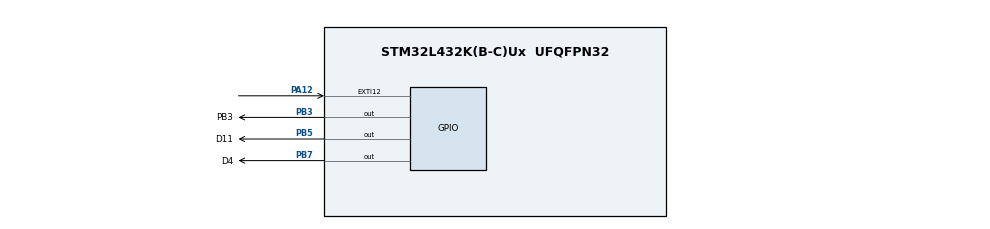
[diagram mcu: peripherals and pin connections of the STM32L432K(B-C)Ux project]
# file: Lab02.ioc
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Mcu.Family=STM32L4
Mcu.Name=STM32L432K(B-C)Ux
Mcu.Package=UFQFPN32
NVIC.EXTI15_10_IRQn=true\:0\:0\:false\:false\:true\:true\:true\:true
NVIC.PriorityGroup=NVIC_PRIORITYGROUP_4
PA12.GPIO_ModeDefaultEXTI=GPIO_MODE_IT_FALLING
PA12.GPIO_PuPd=GPIO_PULLUP
PA12.Signal=GPXTI12
PB3\ (JTDO-TRACESWO).GPIO_Label=PB3
PB3\ (JTDO-TRACESWO).Signal=GPIO_Output
PB5.GPIO_Label=D11
PB5.Signal=GPIO_Output
PB7.GPIO_Label=D4
PB7.Signal=GPIO_Output
ProjectManager.HeapSize=0x200
ProjectManager.StackSize=0x400
ProjectManager.TargetToolchain=STM32CubeIDE
RCC.HSE_VALUE=8000000
RCC.HSI48_VALUE=48000000
RCC.HSI_VALUE=16000000
RCC.LSE_VALUE=32768
RCC.MSI_VALUE=4000000
RCC.VCOOutputFreq_Value=32000000
board=custom

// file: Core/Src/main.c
/* USER CODE BEGIN Header */
/**
  ******************************************************************************
  * @file           : main.c
  * @brief          : Main program body
  ******************************************************************************
  * @attention
  *
  * Copyright (c) 2026 STMicroelectronics.
  * All rights reserved.
  *
  * This software is licensed under terms that can be found in the LICENSE file
  * in the root directory of this software component.
  * If no LICENSE file comes with this software, it is provided AS-IS.
  *
  ******************************************************************************
  */
/* USER CODE END Header */
#include "main.h"

/* USER CODE BEGIN PD */
#define EJERCICIO_ACTUAL 1
volatile uint8_t estado_variable = 0;
/* USER CODE END PD */

void SystemClock_Config(void);
static void MX_GPIO_Init(void);

int main(void)
{
  /* USER CODE BEGIN 1 */
	uint8_t seleccion_led = 0; // 0 = LED1 (0.25Hz), 1 = LED2 (10Hz)  actua como una bandera.

  /* USER CODE END 1 */

  /* MCU Configuration--------------------------------------------------------*/

  /* Reset of all peripherals, Initializes the Flash interface and the Systick. */
  HAL_Init();

  /* Configure the system clock */
  SystemClock_Config();

  /* Initialize all configured peripherals */
  MX_GPIO_Init();

  /* Infinite loop */
  /* USER CODE BEGIN WHILE */
  while (1)
  {
	  #if EJERCICIO_ACTUAL == 1
		  // --- Dos parpadeos del pin D11 (500ms encendido, 500ms apagado) ---
		  	      for(int i = 0; i < 2; i++) {
		  	          HAL_GPIO_WritePin(D11_GPIO_Port, D11_Pin, GPIO_PIN_SET);
		  	          HAL_Delay(500);
		  	          HAL_GPIO_WritePin(D11_GPIO_Port, D11_Pin, GPIO_PIN_RESET);
		  	          HAL_Delay(500);
		  	      }

		  	      // --- Cuatro parpadeos del pin D4 (200ms encendido, 200ms apagado) ---
		  	      for(int i = 0; i < 4; i++) {
		  	          HAL_GPIO_TogglePin(D4_GPIO_Port, D4_Pin); // Toggle invierte el estado actual
		  	          HAL_Delay(200);
		  	          HAL_GPIO_TogglePin(D4_GPIO_Port, D4_Pin);
		  	          HAL_Delay(200);
		  	      }

	  #elif EJERCICIO_ACTUAL == 2
		  	    // 1. Leer el estado del pulsador
		  	          // Como usamos Pull-up, al presionar lee RESET (0V)
		  	          if (HAL_GPIO_ReadPin(BOTON_GPIO_Port, BOTON_Pin) == GPIO_PIN_RESET) {
		  	              seleccion_led = !seleccion_led; // Alternar la selección
		  	              HAL_Delay(300); // Pequeña demora para que un solo toque no cambie el estado 50 veces
		  	          }

		  	          // 2. Ejecutar el parpadeo según la selección
		  	          if (seleccion_led == 0) {
		  	              // Apagamos el LED2 por si quedó encendido al cambiar de estado
		  	              HAL_GPIO_WritePin(D4_GPIO_Port, D4_Pin, GPIO_PIN_RESET);

		  	              // Parpadeo LED1 a 0,25Hz
		  	              HAL_GPIO_TogglePin(D11_GPIO_Port, D11_Pin);
		  	              HAL_Delay(2000);
		  	          }
		  	          else {
		  	              // Apagamos el LED1 por si quedó encendido al cambiar de estado
		  	              HAL_GPIO_WritePin(D11_GPIO_Port, D11_Pin, GPIO_PIN_RESET);

		  	              // Parpadeo LED2 a 10Hz
		  	              HAL_GPIO_TogglePin(D4_GPIO_Port, D4_Pin);
		  	              HAL_Delay(50);
		  	          }

	  #elif EJERCICIO_ACTUAL == 3

#elif EJERCICIO_ACTUAL == 4
		// Al retornar de la ISR, leemos la variable y accionamos el LED D11
		  	        //if (estado_variable == 1) {
		  	        //	HAL_GPIO_WritePin(D11_GPIO_Port, D11_Pin, GPIO_PIN_SET);
		  	        //} else {
		  	        //	HAL_GPIO_WritePin(D11_GPIO_Port, D11_Pin, GPIO_PIN_RESET);
		  	        //}

	  #elif EJERCICIO_ACTUAL == 5

	  #endif

    /* USER CODE END WHILE */

  }
}

void SystemClock_Config(void)
{
  RCC_OscInitTypeDef RCC_OscInitStruct = {0};
  RCC_ClkInitTypeDef RCC_ClkInitStruct = {0};

  /** Configure the main internal regulator output voltage
  */
  if (HAL_PWREx_ControlVoltageScaling(PWR_REGULATOR_VOLTAGE_SCALE1) != HAL_OK)
  {
    Error_Handler();
  }

  /** Initializes the RCC Oscillators according to the specified parameters
  * in the RCC_OscInitTypeDef structure.
  */
  RCC_OscInitStruct.OscillatorType = RCC_OSCILLATORTYPE_MSI;
  RCC_OscInitStruct.MSIState = RCC_MSI_ON;
  RCC_OscInitStruct.MSICalibrationValue = 0;
  RCC_OscInitStruct.MSIClockRange = RCC_MSIRANGE_6;
  RCC_OscInitStruct.PLL.PLLState = RCC_PLL_NONE;
  if (HAL_RCC_OscConfig(&RCC_OscInitStruct) != HAL_OK)
  {
    Error_Handler();
  }

  /** Initializes the CPU, AHB and APB buses clocks
  */
  RCC_ClkInitStruct.ClockType = RCC_CLOCKTYPE_HCLK|RCC_CLOCKTYPE_SYSCLK
                              |RCC_CLOCKTYPE_PCLK1|RCC_CLOCKTYPE_PCLK2;
  RCC_ClkInitStruct.SYSCLKSource = RCC_SYSCLKSOURCE_MSI;
  RCC_ClkInitStruct.AHBCLKDivider = RCC_SYSCLK_DIV1;
  RCC_ClkInitStruct.APB1CLKDivider = RCC_HCLK_DIV1;
  RCC_ClkInitStruct.APB2CLKDivider = RCC_HCLK_DIV1;

  if (HAL_RCC_ClockConfig(&RCC_ClkInitStruct, FLASH_LATENCY_0) != HAL_OK)
  {
    Error_Handler();
  }
}

static void MX_GPIO_Init(void)
{
  GPIO_InitTypeDef GPIO_InitStruct = {0};

  /* GPIO Ports Clock Enable */
  __HAL_RCC_GPIOA_CLK_ENABLE();
  __HAL_RCC_GPIOB_CLK_ENABLE();

  /*Configure GPIO pin Output Level */
  HAL_GPIO_WritePin(GPIOB, PB3_Pin|D11_Pin|D4_Pin, GPIO_PIN_RESET);

  /*Configure GPIO pin : PA12 */
  GPIO_InitStruct.Pin = GPIO_PIN_12;
  GPIO_InitStruct.Mode = GPIO_MODE_IT_FALLING;
  GPIO_InitStruct.Pull = GPIO_PULLUP;
  HAL_GPIO_Init(GPIOA, &GPIO_InitStruct);

  /*Configure GPIO pins : PB3_Pin D11_Pin D4_Pin */
  GPIO_InitStruct.Pin = PB3_Pin|D11_Pin|D4_Pin;
  GPIO_InitStruct.Mode = GPIO_MODE_OUTPUT_PP;
  GPIO_InitStruct.Pull = GPIO_NOPULL;
  GPIO_InitStruct.Speed = GPIO_SPEED_FREQ_LOW;
  HAL_GPIO_Init(GPIOB, &GPIO_InitStruct);

  /* EXTI interrupt init*/
  HAL_NVIC_SetPriority(EXTI15_10_IRQn, 0, 0);
  HAL_NVIC_EnableIRQ(EXTI15_10_IRQn);

}

/* USER CODE BEGIN 4 */
// Esta función es llamada automáticamente por la HAL cuando ocurre la interrupción
void HAL_GPIO_EXTI_Callback(uint16_t GPIO_Pin)
{
    // Verificamos que la interrupción provenga de la línea de nuestro pin PD2
    if(GPIO_Pin == GPIO_PIN_12) {
        estado_variable = !estado_variable; // Alterna el estado entre 0 y 1

        HAL_GPIO_TogglePin(GPIOB, PB3_Pin);
    }
}
/* USER CODE END 4 */

void Error_Handler(void)
{
  __disable_irq();
  while (1)
  {
  }
}
